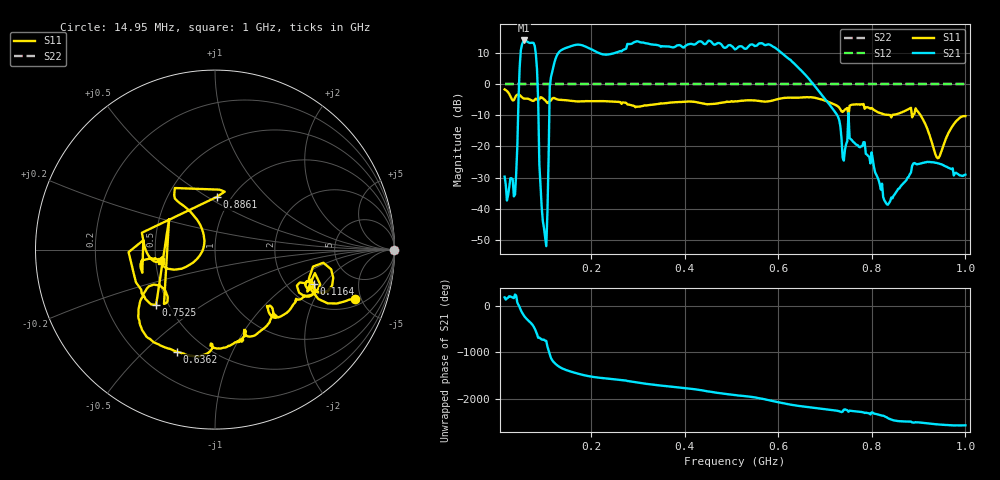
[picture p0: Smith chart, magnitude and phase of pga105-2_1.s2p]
! Anritsu VNA Master:  Model: MS2024B
! SN:  2417009
! /card0/usr/pga105-2_1.s2p
! Existing Calibration Information:
! TYPE:  Current Settings,  Active Cal Settings
! TIME:  09/14/2026 03:15:15 AM,  09/14/2026 03:12:11 AM
! INTERNAL TEMP:  44.5 C,  42.5 C
! # POINTS:  399,  399
! START FREQ:  14.950 MHz,  14.950 MHz
! STOP FREQ:  1.000 GHz,  1.000 GHz
! SOURCE POWER:  Default,  Default
! IFBW:  1 kHz,  1 kHz
! AVG FACTOR:  16 ,  16
! REF PLANE 1:  0 mm,  0 mm
! REF PLANE 2:  0 mm,  0 mm
! CAL TYPE:  1P2P S11,S21,  1P2P S11,S21
! CAL METHOD:  SOLT,  SOLT
! CAL LINE TYPE:  Coax,  Coax
! DUT PORT 1:  N-Conn(M),  N-Conn(M)
! DUT PORT 2:  N-Conn(M),  N-Conn(M)
! CAL STATUS:  OK: Accuracy High,  --
# GHZ S DB R 50.0
! FREQ.GHZ  S11DB  S11A  S21DB  S21A  S12DB  S12A  S22DB  S22A
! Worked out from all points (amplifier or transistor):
!   399 points, 14.95 MHz to 1 GHz, reference 50 ohm
!   highest |S21| = 14.0 dB at 57.02 MHz (marker M1)
!   |S21| within 3 dB of that: 269.2 MHz to 599.2 MHz (330 MHz wide, 76 % of centre)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
!   unconditionally stable (mu >= 1): nowhere
!   at 178.3 MHz: K = 1.61, MSG = 6.3 dB, |S12| = 0.0 dB
!   at 507.5 MHz: K = 1.47, MSG = 5.6 dB, |S12| = 0.0 dB
!   at 1 GHz: K = 0.12, MSG = -14.5 dB, |S12| = 0.0 dB
!   S11 on the Smith chart (normalised r, x): 14.95 MHz: 2.55, -4.39; 116.4 MHz: 2.76, -1.62; 636.2 MHz: 0.35, -0.64; 752.5 MHz: 0.43, -0.33; 886.1 MHz: 0.86, +0.55; 1 GHz: 0.53, -0.07
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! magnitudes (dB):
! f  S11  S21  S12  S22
! 14.95 MHz  -1.7  -29.7  0.0  0.0
! 37.23 MHz  -4.3  -35.4  0.0  0.0
! 47.12 MHz  -3.5  5.4  0.0  0.0
! 57.02 MHz  -4.6  14.0  0.0  0.0
! 81.78 MHz  -4.6  9.6  0.0  0.0
! 89.2 MHz  -4.9  -25.6  0.0  0.0
! 104 MHz  -5.6  -52.0  0.0  0.0
! 111.5 MHz  -5.4  -0.8  0.0  0.0
! 116.4 MHz  -4.7  3.8  0.0  0.0
! 180.8 MHz  -5.5  12.5  0.0  0.0
! 344.1 MHz  -6.3  12.4  0.0  0.0
! 507.5 MHz  -5.5  11.2  0.0  0.0
! 636.2 MHz  -4.3  6.3  0.0  0.0
! 673.3 MHz  -4.3  0.3  0.0  0.0
! 727.8 MHz  -7.2  -10.5  0.0  0.0
! 740.1 MHz  -8.6  -24.5  0.0  0.0
! 750 MHz  -10.3  -9.3  0.0  0.0
! 752.5 MHz  -6.9  -17.3  0.0  0.0
! 836.6 MHz  -9.9  -38.2  0.0  0.0
! 886.1 MHz  -10.6  -26.2  0.0  0.0
! 940.6 MHz  -23.8  -25.4  0.0  0.0
! 1 GHz  -10.3  -29.0  0.0  0.0
